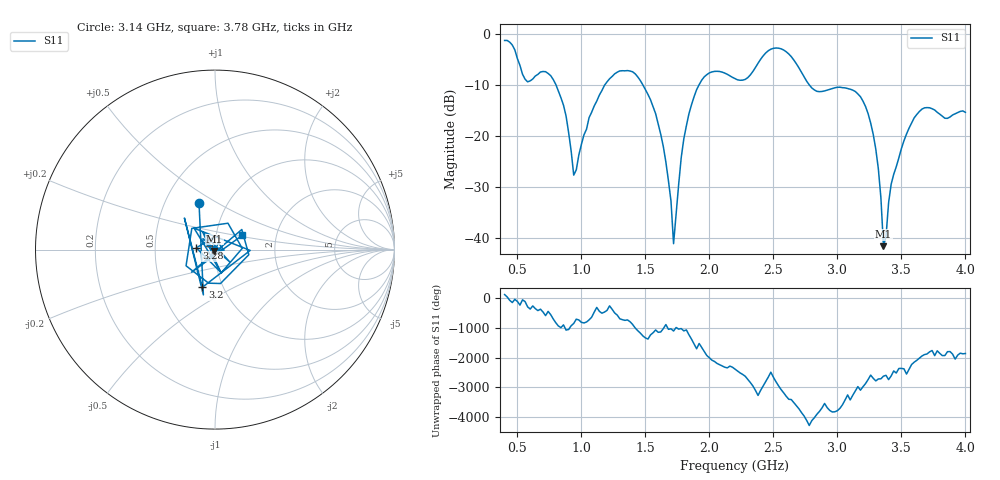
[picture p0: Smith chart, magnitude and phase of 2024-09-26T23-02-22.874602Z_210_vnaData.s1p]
!Created with skrf (http://scikit-rf.org).
# Hz S RI R 50.0
!freq ReS11 ImS11
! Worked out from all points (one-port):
!   181 points, 400 MHz to 4 GHz, reference 50 ohm
!   lowest |S11| = -41.5 dB at 3.36 GHz (marker M1), VSWR 1.02, Z = 49.7 - j0.783 ohm
!   |S11| at or under -10 dB: 802.8 MHz to 1.18 GHz (377.2 MHz wide, 38 % of centre); 1.482 GHz to 1.917 GHz (435.1 MHz wide, 25.6 % of centre); 2.783 GHz to end of sweep
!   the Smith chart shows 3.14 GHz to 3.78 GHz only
!   S11 on the Smith chart (normalised r, x): 3.14 GHz: 0.74, +0.42; 3.2 GHz: 0.80, -0.35; 3.28 GHz: 0.81, +0.02; 3.78 GHz: 1.34, +0.22
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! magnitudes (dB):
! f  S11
! 400 MHz  -1.2
! 560 MHz  -8.8
! 720 MHz  -7.3
! 860 MHz  -13.9
! 940 MHz  -27.6
! 1.1 GHz  -14.0
! 1.3 GHz  -7.2
! 1.44 GHz  -8.3
! 1.58 GHz  -15.6
! 1.66 GHz  -25.0
! 1.72 GHz  -41.0
! 1.76 GHz  -29.4
! 1.82 GHz  -17.9
! 1.92 GHz  -9.9
! 2.2 GHz  -8.7
! 2.5 GHz  -2.7
! 2.66 GHz  -5.1
! 2.84 GHz  -11.2
! 3.1 GHz  -10.8
! 3.14 GHz  -11.2
! 3.2 GHz  -13.1
! 3.28 GHz  -19.6
! 3.32 GHz  -26.4
! 3.36 GHz  -41.5
! 3.42 GHz  -29.4
! 3.56 GHz  -18.4
! 3.78 GHz  -15.3
! 4 GHz  -15.3
